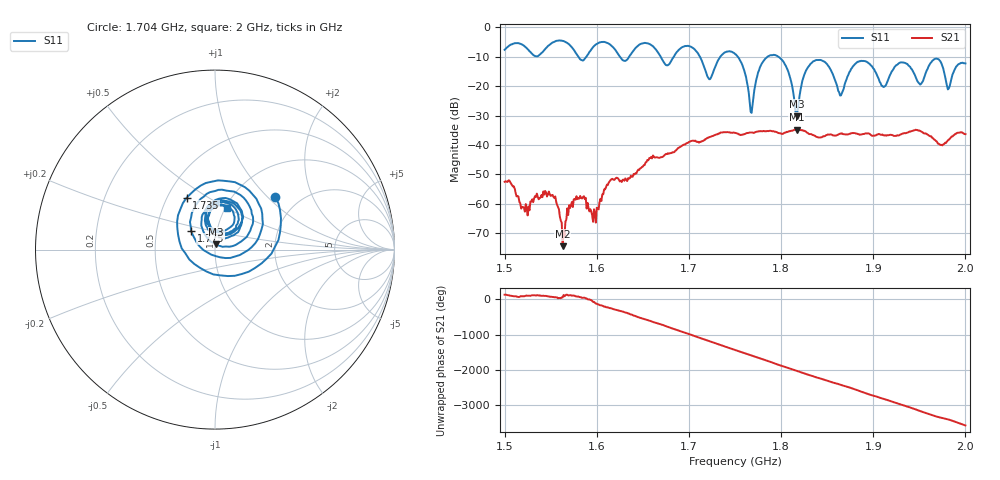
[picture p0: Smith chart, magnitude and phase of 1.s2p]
! NanoVNA-App by SYSJOINT et al v1.1.209 (+OD18)
! Date: 2026-01-21 14:46:59
! Start: 1,5GHz Stop: 2GHz Points: 501
! S-Parameter data: F S11 S21 S12 S22
# Hz S RI R 50
!  Frequency  S11_Real  S11_Imag  S21_Real  S21_Imag  S12_Real  S12_Imag  S22_Real  S22_Imag
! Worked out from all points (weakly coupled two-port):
!   501 points, 1.5 GHz to 2 GHz, reference 50 ohm
!   highest |S21| = -34.75 dB at 1.817 GHz (marker M1); lowest = -74.4 dB at 1.563 GHz (marker M2)
!   lowest |S11| = -30.3 dB at 1.817 GHz (marker M3), VSWR 1.06, Z = 50.5 + j3.02 ohm
!   |S11| at or under -10 dB: 1.712 GHz to 1.734 GHz (22.15 MHz wide, 1.29 % of centre); 1.753 GHz to 1.785 GHz (32.45 MHz wide, 1.83 % of centre); 1.797 GHz to end of sweep (the widest 3 of 6)
!   S12 and S22 are empty: the file has one direction only
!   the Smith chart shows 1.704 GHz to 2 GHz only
!   S11 on the Smith chart (normalised r, x): 1.704 GHz: 1.51, +1.11; 1.735 GHz: 0.63, +0.41; 1.775 GHz: 0.75, +0.16; 2 GHz: 1.02, +0.50
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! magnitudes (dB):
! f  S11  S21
! 1.5 GHz  -7.7  -52.5
! 1.523 GHz  -6.8  -60.1
! 1.553 GHz  -5.1  -57.6
! 1.563 GHz  -4.6  -74.4
! 1.584 GHz  -11.2  -58.2
! 1.597 GHz  -6.4  -61.9
! 1.615 GHz  -6.0  -51.9
! 1.667 GHz  -8.8  -44.3
! 1.704 GHz  -7.0  -38.5
! 1.722 GHz  -17.7  -37.4
! 1.735 GHz  -9.6  -35.8
! 1.75 GHz  -9.1  -35.8
! 1.767 GHz  -28.7  -35.8
! 1.775 GHz  -15.4  -35.4
! 1.8 GHz  -10.8  -36.1
! 1.817 GHz  -30.3  -34.8
! 1.834 GHz  -11.9  -36.6
! 1.864 GHz  -23.2  -36.2
! 1.885 GHz  -11.5  -36.5
! 1.917 GHz  -17.2  -36.7
! 1.982 GHz  -20.8  -38.2
! 2 GHz  -12.3  -36.3
